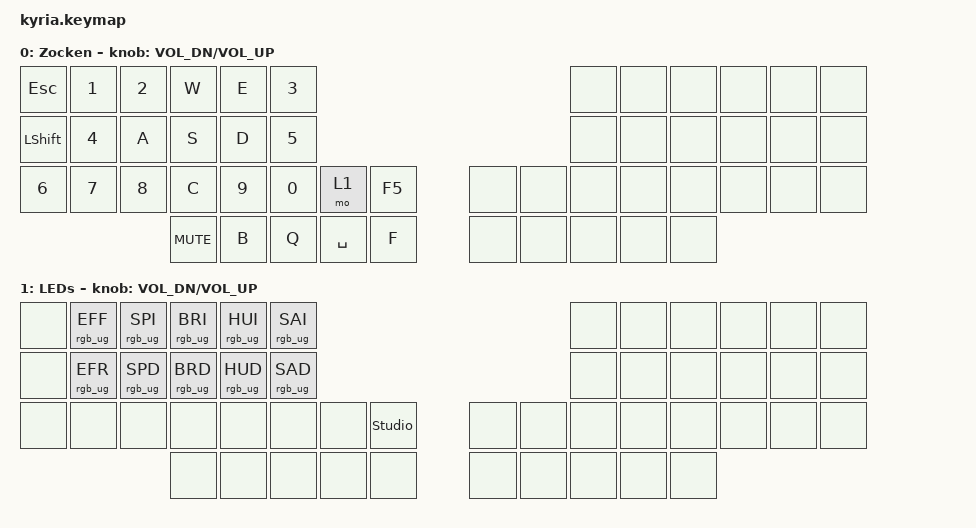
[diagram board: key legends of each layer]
#include <behaviors.dtsi>
#include <dt-bindings/zmk/keys.h>
#include <dt-bindings/zmk/outputs.h>
#include <dt-bindings/zmk/rgb.h>


/ {
    keymap {
        compatible = "zmk,keymap";

        default_layer {
            display-name = "Zocken";

            bindings = <
                &kp ESC   &kp N1    &kp N2    &kp W     &kp E     &kp N3                                                    &none &none &none &none &none &none
                &kp LSHFT &kp N4    &kp A     &kp S     &kp D     &kp N5                                                    &none &none &none &none &none &none
                &kp N6    &kp N7    &kp N8    &kp C     &kp N9    &kp N0    &mo 1        &kp F5                 &none &none &none &none &none &none &none &none
                                             &kp C_MUTE &kp B     &kp Q     &kp SPACE    &kp F                  &none &none &none &none &none
            >;

            sensor-bindings = <&inc_dec_kp C_VOL_DN C_VOL_UP>;
        };

        rgb_layer {
            display-name = "LEDs";

            bindings = <
                &none  &rgb_ug RGB_EFF  &rgb_ug RGB_SPI  &rgb_ug RGB_BRI  &rgb_ug RGB_HUI  &rgb_ug RGB_SAI                         &none &none &none &none &none &none
                &none  &rgb_ug RGB_EFR  &rgb_ug RGB_SPD  &rgb_ug RGB_BRD  &rgb_ug RGB_HUD  &rgb_ug RGB_SAD                         &none &none &none &none &none &none
                &none  &none            &none            &none            &none            &none &none &studio_unlock  &none &none &none &none &none &none &none &none
                                                                               &none &none &none &none &none           &none &none &none &none &none
            >;

            sensor-bindings = <&inc_dec_kp C_VOL_DN C_VOL_UP>;
        };
    };
};
